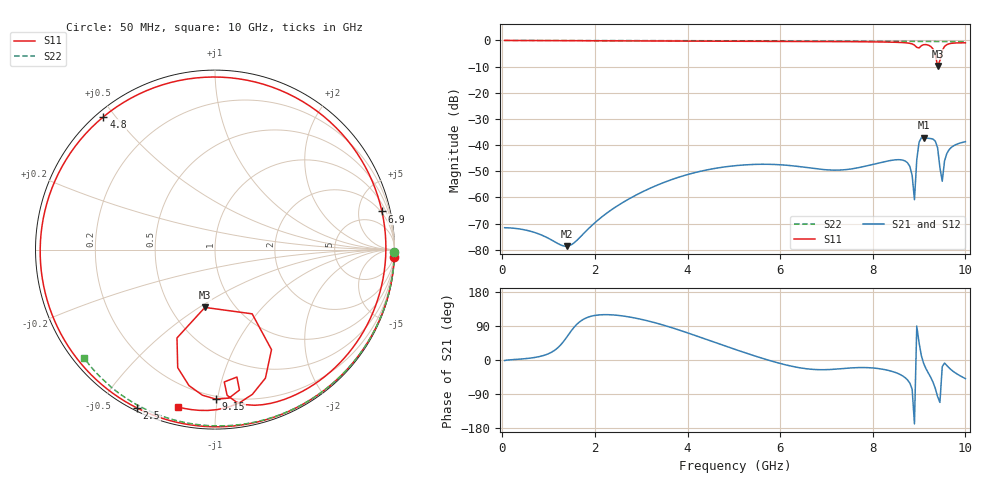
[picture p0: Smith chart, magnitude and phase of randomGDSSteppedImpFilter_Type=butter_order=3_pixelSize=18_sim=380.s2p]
! freq	dB(S11)	phase(S11)	dB(S12)	phase(S12)
!  dB(S21)	phase(S21)	dB(S22)	phase(S22)
!S-par simulation data
#  GHz  S  DB  R 50
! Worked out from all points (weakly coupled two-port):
!   200 points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, 50 MHz to 10 GHz, reference 50 ohm
!   highest |S21| = -37.14 dB at 9.1 GHz (marker M1); lowest = -78.6 dB at 1.4 GHz (marker M2)
!   lowest |S11| = -9.7 dB at 9.4 GHz (marker M3), VSWR 1.97, Z = 36.6 - j26.4 ohm
!   |S11| at or under -10 dB: nowhere
!   |S22| runs from -0.5 to 0.0 dB; largest |S21 - S12| = 0
!   S11 on the Smith chart (normalised r, x): 50 MHz: 0, -48; 2.5 GHz: 0.01, -0.62; 4.8 GHz: 0.02, +0.47; 6.9 GHz: 1.79, +8.49; 9.15 GHz: 0.18, -0.99; 10 GHz: 0.08, -0.79
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0.05  -0.00 -2.4  -71.54 -1.4  -71.54 -1.4  -0.00 -0.8
1.4  -0.08 -65.7  -78.60 61.8  -78.60 61.8  -0.03 -22.6
1.75  -0.10 -81.8  -73.89 107.3  -73.89 107.3  -0.04 -28.1
2.5  -0.14 -116.2  -63.02 117.8  -63.02 117.8  -0.05 -39.8
3.4  -0.20 -158.3  -54.88 94.9  -54.88 94.9  -0.07 -53.4
4.8  -0.30 130.0  -48.32 37.5  -48.32 37.5  -0.11 -73.7
5.05  -0.31 116.2  -47.81 27.0  -47.81 27.0  -0.12 -77.2
5.8  -0.35 73.6  -47.34 -2.3  -47.34 -2.3  -0.15 -87.4
6.7  -0.40 23.4  -48.85 -24.7  -48.85 -24.7  -0.19 -99.3
6.9  -0.41 12.9  -49.26 -25.7  -49.26 -25.7  -0.20 -101.9
8.35  -0.63 -55.9  -45.96 -27.8  -45.96 -27.8  -0.31 -120.2
8.75  -0.96 -75.7  -46.72 -52.4  -46.72 -52.4  -0.34 -125.2
8.85  -1.33 -82.0  -51.49 -76.7  -51.49 -76.7  -0.35 -126.4
8.9  -1.78 -85.3  -60.85 -168.6  -60.85 -168.6  -0.36 -127.1
8.95  -2.63 -86.0  -45.59 89.7  -45.59 89.7  -0.36 -127.7
9  -2.85 -80.3  -38.83 45.3  -38.83 45.3  -0.37 -128.3
9.1  -1.61 -84.6  -37.14 -9.5  -37.14 -9.5  -0.38 -129.5
9.15  -1.58 -89.7  -37.28 -23.3  -37.28 -23.3  -0.39 -130.1
9.4  -9.71 -99.9  -41.04 -96.7  -41.04 -96.7  -0.41 -133.1
9.5  -3.87 -60.5  -53.77 -17.6  -53.77 -17.6  -0.42 -134.4
9.6  -1.59 -75.5  -43.15 -14.7  -43.15 -14.7  -0.43 -135.6
10  -0.91 -103.4  -38.68 -49.1  -38.68 -49.1  -0.48 -140.5
